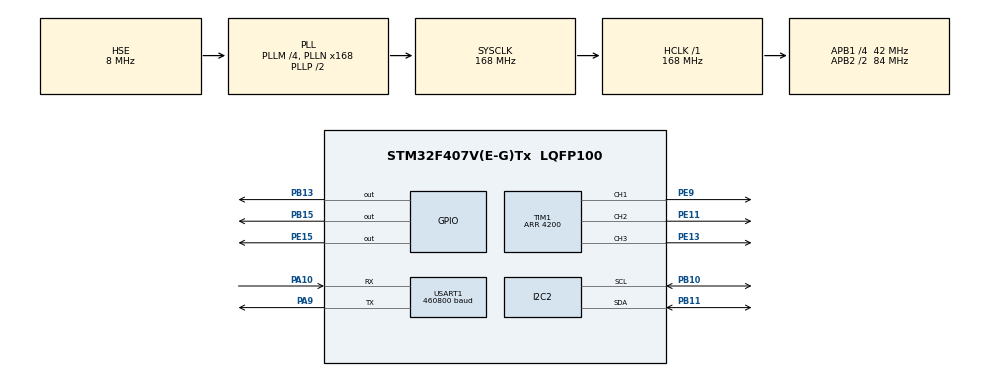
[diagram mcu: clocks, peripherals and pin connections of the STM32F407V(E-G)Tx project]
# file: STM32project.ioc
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FREERTOS.Tasks01=defaultTask,24,128,StartDefaultTask,Default,NULL,Dynamic,NULL,NULL
Mcu.Family=STM32F4
Mcu.Name=STM32F407V(E-G)Tx
Mcu.Package=LQFP100
NVIC.PriorityGroup=NVIC_PRIORITYGROUP_4
NVIC.TIM8_TRG_COM_TIM14_IRQn=true\:15\:0\:false\:false\:true\:false\:false\:true\:true
NVIC.TimeBase=TIM8_TRG_COM_TIM14_IRQn
NVIC.TimeBaseIP=TIM14
PA10.Mode=Asynchronous
PA10.Signal=USART1_RX
PA13.Mode=Serial_Wire
PA13.Signal=SYS_JTMS-SWDIO
PA14.Mode=Serial_Wire
PA14.Signal=SYS_JTCK-SWCLK
PA9.Mode=Asynchronous
PA9.Signal=USART1_TX
PB10.Mode=I2C
PB10.Signal=I2C2_SCL
PB11.Mode=I2C
PB11.Signal=I2C2_SDA
PB13.GPIO_ModeDefaultOutputPP=GPIO_MODE_OUTPUT_OD
PB13.GPIO_PuPd=GPIO_NOPULL
PB13.GPIO_Speed=GPIO_SPEED_FREQ_MEDIUM
PB13.PinState=GPIO_PIN_SET
PB13.Signal=GPIO_Output
PB15.GPIO_ModeDefaultOutputPP=GPIO_MODE_OUTPUT_OD
PB15.GPIO_PuPd=GPIO_NOPULL
PB15.GPIO_Speed=GPIO_SPEED_FREQ_MEDIUM
PB15.PinState=GPIO_PIN_SET
PB15.Signal=GPIO_Output
PC14-OSC32_IN.Mode=LSE-External-Oscillator
PC14-OSC32_IN.Signal=RCC_OSC32_IN
PC15-OSC32_OUT.Mode=LSE-External-Oscillator
PC15-OSC32_OUT.Signal=RCC_OSC32_OUT
PE11.Signal=S_TIM1_CH2
PE13.Signal=S_TIM1_CH3
PE15.Signal=GPIO_Output
PE9.Signal=S_TIM1_CH1
PH0-OSC_IN.Mode=HSE-External-Oscillator
PH0-OSC_IN.Signal=RCC_OSC_IN
PH1-OSC_OUT.Mode=HSE-External-Oscillator
PH1-OSC_OUT.Signal=RCC_OSC_OUT
ProjectManager.HeapSize=0x200
ProjectManager.StackSize=0x400
ProjectManager.TargetToolchain=MDK-ARM V5.32
RCC.48MHZClocksFreq_Value=84000000
RCC.AHBFreq_Value=168000000
RCC.APB1CLKDivider=RCC_HCLK_DIV4
RCC.APB1Freq_Value=42000000
RCC.APB1TimFreq_Value=84000000
RCC.APB2CLKDivider=RCC_HCLK_DIV2
RCC.APB2Freq_Value=84000000
RCC.APB2TimFreq_Value=168000000
RCC.CortexFreq_Value=168000000
RCC.HCLKFreq_Value=168000000
RCC.HSE_VALUE=8000000
RCC.HSI_VALUE=16000000
RCC.PLLM=4
RCC.PLLN=168
RCC.PLLSourceVirtual=RCC_PLLSOURCE_HSE
RCC.SYSCLKFreq_VALUE=168000000
RCC.SYSCLKSource=RCC_SYSCLKSOURCE_PLLCLK
RCC.VCOOutputFreq_Value=336000000
SH.S_TIM1_CH1.0=TIM1_CH1,PWM Generation1 CH1
SH.S_TIM1_CH2.0=TIM1_CH2,PWM Generation2 CH2
SH.S_TIM1_CH3.0=TIM1_CH3,PWM Generation3 CH3
TIM1.AutoReloadPreload=TIM_AUTORELOAD_PRELOAD_ENABLE
TIM1.Channel-PWM\ Generation1\ CH1=TIM_CHANNEL_1
TIM1.Channel-PWM\ Generation2\ CH2=TIM_CHANNEL_2
TIM1.Channel-PWM\ Generation3\ CH3=TIM_CHANNEL_3
TIM1.CounterMode=TIM_COUNTERMODE_CENTERALIGNED1
TIM1.Period=4200
TIM1.Pulse-PWM\ Generation1\ CH1=2100
TIM1.Pulse-PWM\ Generation2\ CH2=2100
TIM1.Pulse-PWM\ Generation3\ CH3=2100
USART1.BaudRate=460800
USART1.VirtualMode=VM_ASYNC
VP_FREERTOS_VS_CMSIS_V2.Mode=CMSIS_V2
VP_SYS_VS_tim14.Mode=TIM14
VP_TIM1_VS_ClockSourceINT.Mode=Internal
board=custom

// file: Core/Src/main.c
/* USER CODE BEGIN Header */
/**
  ******************************************************************************
  * @file           : main.c
  * @brief          : Main program body
  ******************************************************************************
  * @attention
  *
  * Copyright (c) 2026 STMicroelectronics.
  * All rights reserved.
  *
  * This software is licensed under terms that can be found in the LICENSE file
  * in the root directory of this software component.
  * If no LICENSE file comes with this software, it is provided AS-IS.
  *
  ******************************************************************************
  */
/* USER CODE END Header */
#include "main.h"
#include "cmsis_os.h"
#include "i2c.h"
#include "tim.h"
#include "usart.h"
#include "gpio.h"

/* USER CODE BEGIN Includes */
#include "oled.h"
#include "foc.h"
/* USER CODE END Includes */

/* USER CODE BEGIN PV */
/* Compact reset reason: BOR=1, pin=2, power-on=4, software=8,
 * independent watchdog=16, window watchdog=32, low-power=64. */
volatile uint32_t motor_reset_reason;

/* USER CODE END PV */

void SystemClock_Config(void);
void MX_FREERTOS_Init(void);

int main(void)
{

  /* USER CODE BEGIN 1 */
  uint32_t reset_csr = RCC->CSR;
  motor_reset_reason =
      ((reset_csr & RCC_CSR_BORRSTF) ? 1U : 0U) |
      ((reset_csr & RCC_CSR_PINRSTF) ? 2U : 0U) |
      ((reset_csr & RCC_CSR_PORRSTF) ? 4U : 0U) |
      ((reset_csr & RCC_CSR_SFTRSTF) ? 8U : 0U) |
      ((reset_csr & RCC_CSR_IWDGRSTF) ? 16U : 0U) |
      ((reset_csr & RCC_CSR_WWDGRSTF) ? 32U : 0U) |
      ((reset_csr & RCC_CSR_LPWRRSTF) ? 64U : 0U);
  RCC->CSR |= RCC_CSR_RMVF;

  /* USER CODE END 1 */

  /* MCU Configuration--------------------------------------------------------*/

  /* Reset of all peripherals, Initializes the Flash interface and the Systick. */
  HAL_Init();

  /* Configure the system clock */
  SystemClock_Config();

  /* Initialize all configured peripherals */
  MX_GPIO_Init();
  MX_I2C2_Init();
  MX_TIM1_Init();
  MX_USART1_UART_Init();
  /* USER CODE BEGIN 2 */

	OLED_Init();

	HAL_TIM_PWM_Start(&htim1, TIM_CHANNEL_1);
	HAL_TIM_PWM_Start(&htim1, TIM_CHANNEL_2);
	HAL_TIM_PWM_Start(&htim1, TIM_CHANNEL_3);

  /* USER CODE END 2 */

  /* Init scheduler */
  osKernelInitialize();  /* Call init function for freertos objects (in cmsis_os2.c) */
  MX_FREERTOS_Init();

  /* Start scheduler */
  osKernelStart();

  /* We should never get here as control is now taken by the scheduler */

  /* Infinite loop */
  while (1)
  {

  }
}

void SystemClock_Config(void)
{
  RCC_OscInitTypeDef RCC_OscInitStruct = {0};
  RCC_ClkInitTypeDef RCC_ClkInitStruct = {0};

  /** Configure the main internal regulator output voltage
  */
  __HAL_RCC_PWR_CLK_ENABLE();
  __HAL_PWR_VOLTAGESCALING_CONFIG(PWR_REGULATOR_VOLTAGE_SCALE1);

  /** Initializes the RCC Oscillators according to the specified parameters
  * in the RCC_OscInitTypeDef structure.
  */
  RCC_OscInitStruct.OscillatorType = RCC_OSCILLATORTYPE_HSE;
  RCC_OscInitStruct.HSEState = RCC_HSE_ON;
  RCC_OscInitStruct.PLL.PLLState = RCC_PLL_ON;
  RCC_OscInitStruct.PLL.PLLSource = RCC_PLLSOURCE_HSE;
  RCC_OscInitStruct.PLL.PLLM = 4;
  RCC_OscInitStruct.PLL.PLLN = 168;
  RCC_OscInitStruct.PLL.PLLP = RCC_PLLP_DIV2;
  RCC_OscInitStruct.PLL.PLLQ = 4;
  if (HAL_RCC_OscConfig(&RCC_OscInitStruct) != HAL_OK)
  {
    Error_Handler();
  }

  /** Initializes the CPU, AHB and APB buses clocks
  */
  RCC_ClkInitStruct.ClockType = RCC_CLOCKTYPE_HCLK|RCC_CLOCKTYPE_SYSCLK
                              |RCC_CLOCKTYPE_PCLK1|RCC_CLOCKTYPE_PCLK2;
  RCC_ClkInitStruct.SYSCLKSource = RCC_SYSCLKSOURCE_PLLCLK;
  RCC_ClkInitStruct.AHBCLKDivider = RCC_SYSCLK_DIV1;
  RCC_ClkInitStruct.APB1CLKDivider = RCC_HCLK_DIV4;
  RCC_ClkInitStruct.APB2CLKDivider = RCC_HCLK_DIV2;

  if (HAL_RCC_ClockConfig(&RCC_ClkInitStruct, FLASH_LATENCY_5) != HAL_OK)
  {
    Error_Handler();
  }
}

void HAL_TIM_PeriodElapsedCallback(TIM_HandleTypeDef *htim)
{
  if (htim->Instance == TIM14)
  {
    HAL_IncTick();
  }
}

void Error_Handler(void)
{
  __disable_irq();
  while (1)
  {
  }
}

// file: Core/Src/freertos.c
/* USER CODE BEGIN Header */
/**
  ******************************************************************************
  * File Name          : freertos.c
  * Description        : Code for freertos applications
  ******************************************************************************
  * @attention
  *
  * Copyright (c) 2026 STMicroelectronics.
  * All rights reserved.
  *
  * This software is licensed under terms that can be found in the LICENSE file
  * in the root directory of this software component.
  * If no LICENSE file comes with this software, it is provided AS-IS.
  *
  ******************************************************************************
  */
/* USER CODE END Header */

#include "FreeRTOS.h"
#include "task.h"
#include "main.h"
#include "cmsis_os.h"

/* USER CODE BEGIN Includes */
#include "oled.h"
#include "FOC.h"
#include "vofa_telemetry.h"
#include "haptic.h"
/* USER CODE END Includes */

/* USER CODE BEGIN PD */
void MotorTask(void *argument);
void DisplayTask(void *argument);
void CommTask(void *argument);

TaskHandle_t MotorTask_Handler;   //������
TaskHandle_t DisplayTask_Handler;
TaskHandle_t CommTask_Handler;
/* USER CODE END PD */

/* USER CODE BEGIN Variables */
volatile BaseType_t motor_create;
volatile BaseType_t display_create;
volatile BaseType_t comm_create;
/* USER CODE END Variables */
/* Definitions for defaultTask */
osThreadId_t defaultTaskHandle;
const osThreadAttr_t defaultTask_attributes = {
  .name = "defaultTask",
  .stack_size = 128 * 4,
  .priority = (osPriority_t) osPriorityNormal,
};

void StartDefaultTask(void *argument);

void MX_FREERTOS_Init(void); /* (MISRA C 2004 rule 8.1) */

void MX_FREERTOS_Init(void) {

  /* Create the thread(s) */
  /* creation of defaultTask */
  defaultTaskHandle = osThreadNew(StartDefaultTask, NULL, &defaultTask_attributes);

}

void StartDefaultTask(void *argument)
{
  /* USER CODE BEGIN StartDefaultTask */
  /* Infinite loop */

	taskENTER_CRITICAL();
	motor_create = xTaskCreate(
			MotorTask, "task1", 128, NULL, 30, &MotorTask_Handler
	);

    comm_create = xTaskCreate(
        CommTask, "comm", 256, NULL, 22, &CommTask_Handler
    );

	display_create = xTaskCreate(
			DisplayTask, "task3", 128, NULL, 18, &DisplayTask_Handler
	);
	taskEXIT_CRITICAL();

	vTaskDelete(NULL);
//	for(;;);
  /* USER CODE END StartDefaultTask */
}

/* USER CODE BEGIN Application */

void MotorTask(void *argument)
{
    FOC_Feedback_t feedback;
    TickType_t previous_wake_time = xTaskGetTickCount();
    uint32_t last_ms = HAL_GetTick();

    FOC_Start(last_ms);
    FOC_SetControlMode(FOC_MODE_SPEED);
    FOC_SetTargetSpeed(0.0f);

    for (;;)
    {
        uint32_t now_ms = HAL_GetTick();
        float dt = (now_ms - last_ms) * 0.001f;
        last_ms = now_ms;

        if (FOC_Update(now_ms))
        {
            FOC_GetFeedback(&feedback);
//            Roller(&feedback, dt);
//							Song_Control(&feedback);
							Volume_Control(&feedback);
//						Snap_fastener(&feedback);
            if (DisplayTask_Handler != NULL)
                xTaskNotifyGive(DisplayTask_Handler);
        }

        vTaskDelayUntil(&previous_wake_time, pdMS_TO_TICKS(1));
    }
}

void DisplayTask(void *argument){
    FOC_Feedback_t feedback;
	OLED_Print(0, 0, "FOC: RUNNING");
	OLED_Print(0, 1, "Angle:");
	OLED_Print(0, 2, "RPM:");
	OLED_Print(0, 3, "Theta:");
	OLED_Update();
	while(1){
		ulTaskNotifyTake(pdTRUE, portMAX_DELAY);
        FOC_GetFeedback(&feedback);
		OLED_Print(0, 1, "Angle:");
		OLED_PrintFixed(7, 1,(uint16_t)(feedback.mechanical_angle*100/3.1415926f), 2);
		OLED_Print(0, 2, "RPM:");
		OLED_PrintFixed(5, 2,(uint16_t)(feedback.mechanical_speed*100), 2);
		OLED_Print(0, 3, "Theta:");
		OLED_PrintFixed(7, 3,(uint16_t)(feedback.electrical_angle*100), 2);
		OLED_Update();
		vTaskDelay(100);
	}
}

void CommTask(void *argument)
{
    TickType_t previous_wake_time = xTaskGetTickCount();
    if (VOFA_TelemetryInit() != HAL_OK)
    {
        vofa_errors++;
        vTaskDelete(NULL);
        return;
    }
    for (;;)
    {
        VOFA_TelemetrySend();
        vTaskDelayUntil(&previous_wake_time, pdMS_TO_TICKS(VOFA_TELEMETRY_PERIOD_MS));
    }
}

/* USER CODE END Application */
